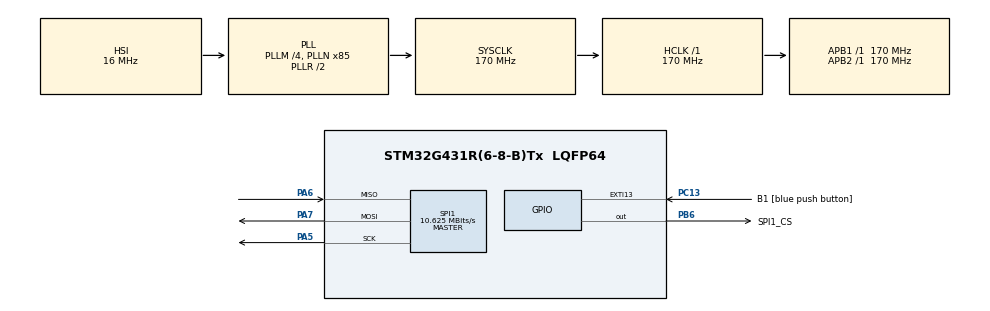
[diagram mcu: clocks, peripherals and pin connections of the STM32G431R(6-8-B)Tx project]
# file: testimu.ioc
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Mcu.Family=STM32G4
Mcu.Name=STM32G431R(6-8-B)Tx
Mcu.Package=LQFP64
NVIC.PriorityGroup=NVIC_PRIORITYGROUP_4
PA13.GPIO_Label=T_SWDIO
PA13.Signal=SYS_JTMS-SWDIO
PA14.GPIO_Label=T_SWCLK
PA14.Signal=SYS_JTCK-SWCLK
PA2.GPIO_Label=LPUART1_TX [STLINKV3E_VCP_RX]
PA2.Signal=LPUART1_TX
PA3.GPIO_Label=LPUART1_RX [STLINKV3E_VCP_TX]
PA3.Signal=LPUART1_RX
PA5.Mode=Full_Duplex_Master
PA5.Signal=SPI1_SCK
PA6.Mode=Full_Duplex_Master
PA6.Signal=SPI1_MISO
PA7.Mode=Full_Duplex_Master
PA7.Signal=SPI1_MOSI
PB3.GPIO_Label=T_SWO
PB3.Signal=SYS_JTDO-SWO
PB6.GPIO_Label=SPI1_CS
PB6.GPIO_Speed=GPIO_SPEED_FREQ_HIGH
PB6.PinState=GPIO_PIN_SET
PB6.Signal=GPIO_Output
PC13.GPIO_Label=B1 [blue push button]
PC13.Signal=GPXTI13
PC14-OSC32_IN.GPIO_Label=RCC_OSC32_OUT
PC14-OSC32_IN.Signal=RCC_OSC32_IN
PC15-OSC32_OUT.GPIO_Label=RCC_OSC32_OUT
PC15-OSC32_OUT.Signal=RCC_OSC32_OUT
PF0-OSC_IN.GPIO_Label=RCC_OSC_IN
PF0-OSC_IN.Signal=RCC_OSC_IN
PF1-OSC_OUT.GPIO_Label=RCC_OSC_OUT
PF1-OSC_OUT.Signal=RCC_OSC_OUT
ProjectManager.HeapSize=0x200
ProjectManager.StackSize=0x400
ProjectManager.TargetToolchain=STM32CubeIDE
RCC.ADC12Freq_Value=170000000
RCC.AHBFreq_Value=170000000
RCC.APB1Freq_Value=170000000
RCC.APB1TimFreq_Value=170000000
RCC.APB2Freq_Value=170000000
RCC.APB2TimFreq_Value=170000000
RCC.CortexFreq_Value=170000000
RCC.EXTERNAL_CLOCK_VALUE=12288000
RCC.HCLKFreq_Value=170000000
RCC.HSE_VALUE=24000000
RCC.HSI48_VALUE=48000000
RCC.HSI_VALUE=16000000
RCC.LSE_VALUE=32768
RCC.PLLM=RCC_PLLM_DIV4
RCC.PLLN=85
RCC.RTCClockSelection=RCC_RTCCLKSOURCE_LSE
RCC.SYSCLKFreq_VALUE=170000000
RCC.SYSCLKSource=RCC_SYSCLKSOURCE_PLLCLK
RCC.USBFreq_Value=170000000
RCC.VCOOutputFreq_Value=340000000
SPI1.BaudRatePrescaler=SPI_BAUDRATEPRESCALER_16
SPI1.CLKPhase=SPI_PHASE_2EDGE
SPI1.CLKPolarity=SPI_POLARITY_HIGH
SPI1.CalculateBaudRate=10.625 MBits/s
SPI1.DataSize=SPI_DATASIZE_8BIT
SPI1.Direction=SPI_DIRECTION_2LINES
SPI1.Mode=SPI_MODE_MASTER
SPI1.VirtualType=VM_MASTER
VP_SYS_VS_DBSignals.Mode=DisableDeadBatterySignals
board=NUCLEO-G431RB

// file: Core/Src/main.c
/* USER CODE BEGIN Header */
/**
  ******************************************************************************
  * @file           : main.c
  * @brief          : Main program body
  ******************************************************************************
  * @attention
  *
  * Copyright (c) 2025 STMicroelectronics.
  * All rights reserved.
  *
  * This software is licensed under terms that can be found in the LICENSE file
  * in the root directory of this software component.
  * If no LICENSE file comes with this software, it is provided AS-IS.
  *
  ******************************************************************************
  */
/* USER CODE END Header */
#include "main.h"
#include "spi.h"
#include "gpio.h"
#include "usart.h"

/* USER CODE BEGIN Includes */
#include "icm20948.h"
#include <string.h>
#include <stdbool.h>

/* USER CODE END Includes */

/* USER CODE BEGIN PD */
#define LED1_PIN GPIO_PIN_11
#define LED2_PIN GPIO_PIN_12
#define LED3_PIN GPIO_PIN_13
#define LED_PORT GPIOB

#define UART_RX_BUFFER_SIZE 32
/* USER CODE END PD */

/* USER CODE BEGIN PV */
axises my_gyro;
axises my_accel;
axises my_mag;

uint8_t uartRxBuffer[UART_RX_BUFFER_SIZE];
uint8_t uartRxData;
bool commandReceived = false;
/* USER CODE END PV */

void SystemClock_Config(void);
/* USER CODE BEGIN PFP */
void ProcessCommand(uint8_t* command);
void LED_Control(uint8_t led_num, bool state);
void LED_Init(void);

/* USER CODE END PFP */

int main(void)
{

  /* MCU Configuration--------------------------------------------------------*/

  /* Reset of all peripherals, Initializes the Flash interface and the Systick. */
  HAL_Init();

  /* Configure the system clock */
  SystemClock_Config();

  /* Initialize all configured peripherals */
  MX_GPIO_Init();
  MX_SPI1_Init();
    /* USER CODE BEGIN 2 */
  icm20948_init();
  ak09916_init();

  LED_Init();

  // Start UART reception in interrupt mode
  HAL_UART_Receive_IT(&huart1, &uartRxData, 1);

  // Send initial message
  char welcomeMsg[] = "STM32 LED Control Ready\r\n";
  HAL_UART_Transmit(&huart1, (uint8_t*)welcomeMsg, strlen(welcomeMsg), 100);

  /* USER CODE END 2 */

  /* Infinite loop */
  while (1)
  {

    /* USER CODE BEGIN 3 */
	  icm20948_gyro_read_dps(&my_gyro);
	  icm20948_accel_read_g(&my_accel);
	  ak09916_mag_read_uT(&my_mag);

    // Process command if received
    if (commandReceived) {
      ProcessCommand(uartRxBuffer);
      memset(uartRxBuffer, 0, UART_RX_BUFFER_SIZE);
      commandReceived = false;
    }
  }
  /* USER CODE END 3 */
}

void SystemClock_Config(void)
{
  RCC_OscInitTypeDef RCC_OscInitStruct = {0};
  RCC_ClkInitTypeDef RCC_ClkInitStruct = {0};

  /** Configure the main internal regulator output voltage
  */
  HAL_PWREx_ControlVoltageScaling(PWR_REGULATOR_VOLTAGE_SCALE1_BOOST);

  /** Initializes the RCC Oscillators according to the specified parameters
  * in the RCC_OscInitTypeDef structure.
  */
  RCC_OscInitStruct.OscillatorType = RCC_OSCILLATORTYPE_HSI;
  RCC_OscInitStruct.HSIState = RCC_HSI_ON;
  RCC_OscInitStruct.HSICalibrationValue = RCC_HSICALIBRATION_DEFAULT;
  RCC_OscInitStruct.PLL.PLLState = RCC_PLL_ON;
  RCC_OscInitStruct.PLL.PLLSource = RCC_PLLSOURCE_HSI;
  RCC_OscInitStruct.PLL.PLLM = RCC_PLLM_DIV4;
  RCC_OscInitStruct.PLL.PLLN = 85;
  RCC_OscInitStruct.PLL.PLLP = RCC_PLLP_DIV2;
  RCC_OscInitStruct.PLL.PLLQ = RCC_PLLQ_DIV2;
  RCC_OscInitStruct.PLL.PLLR = RCC_PLLR_DIV2;
  if (HAL_RCC_OscConfig(&RCC_OscInitStruct) != HAL_OK)
  {
    Error_Handler();
  }

  /** Initializes the CPU, AHB and APB buses clocks
  */
  RCC_ClkInitStruct.ClockType = RCC_CLOCKTYPE_HCLK|RCC_CLOCKTYPE_SYSCLK
                              |RCC_CLOCKTYPE_PCLK1|RCC_CLOCKTYPE_PCLK2;
  RCC_ClkInitStruct.SYSCLKSource = RCC_SYSCLKSOURCE_PLLCLK;
  RCC_ClkInitStruct.AHBCLKDivider = RCC_SYSCLK_DIV1;
  RCC_ClkInitStruct.APB1CLKDivider = RCC_HCLK_DIV1;
  RCC_ClkInitStruct.APB2CLKDivider = RCC_HCLK_DIV1;

  if (HAL_RCC_ClockConfig(&RCC_ClkInitStruct, FLASH_LATENCY_4) != HAL_OK)
  {
    Error_Handler();
  }
}

/* USER CODE BEGIN 4 */
/**
  * @brief  Initialize LEDs
  * @retval None
  */
void LED_Init(void) {
  GPIO_InitTypeDef GPIO_InitStruct = {0};

  // Enable the GPIO clock
  __HAL_RCC_GPIOB_CLK_ENABLE();

  // Configure the LED pins as outputs
  GPIO_InitStruct.Pin = LED1_PIN | LED2_PIN | LED3_PIN;
  GPIO_InitStruct.Mode = GPIO_MODE_OUTPUT_PP;
  GPIO_InitStruct.Pull = GPIO_NOPULL;
  GPIO_InitStruct.Speed = GPIO_SPEED_FREQ_LOW;
  HAL_GPIO_Init(LED_PORT, &GPIO_InitStruct);

  // Turn off all LEDs initially
  HAL_GPIO_WritePin(LED_PORT, LED1_PIN | LED2_PIN | LED3_PIN, GPIO_PIN_RESET);
}

/**
  * @brief  Control LED state
  * @param  led_num: LED number (1-3)
  * @param  state: LED state (true = ON, false = OFF)
  * @retval None
  */
void LED_Control(uint8_t led_num, bool state) {
  GPIO_PinState pinState = state ? GPIO_PIN_SET : GPIO_PIN_RESET;

  switch (led_num) {
    case 1:
      HAL_GPIO_WritePin(LED_PORT, LED1_PIN, pinState);
      break;
    case 2:
      HAL_GPIO_WritePin(LED_PORT, LED2_PIN, pinState);
      break;
    case 3:
      HAL_GPIO_WritePin(LED_PORT, LED3_PIN, pinState);
      break;
    default:
      break;
  }
}

/**
  * @brief  Process received command
  * @param  command: Command string to process
  * @retval None
  */
void ProcessCommand(uint8_t* command) {
  char response[32] = {0};

  // Format: "LEDx ON" or "LEDx OFF" where x is 1-3
  if (strncmp((char*)command, "LED", 3) == 0 && command[3] >= '1' && command[3] <= '3') {
    uint8_t led_num = command[3] - '0';

    if (strncmp((char*)command + 4, " ON", 3) == 0) {
      LED_Control(led_num, true);
      sprintf(response, "LED%d turned ON\r\n", led_num);
    }
    else if (strncmp((char*)command + 4, " OFF", 4) == 0) {
      LED_Control(led_num, false);
      sprintf(response, "LED%d turned OFF\r\n", led_num);
    }
    else {
      sprintf(response, "Invalid command format\r\n");
    }
  }
  else {
    sprintf(response, "Invalid command\r\n");
  }

  // Send response
  HAL_UART_Transmit(&huart1, (uint8_t*)response, strlen(response), 100);
}

/**
  * @brief  UART Reception Callback
  * @param  huart: UART handle
  * @retval None
  */
void HAL_UART_RxCpltCallback(UART_HandleTypeDef *huart) {
  static uint8_t rxIndex = 0;

  if (huart->Instance == USART1) {
    if (uartRxData == '\n' || uartRxData == '\r') {
      // End of command
      if (rxIndex > 0) {
        uartRxBuffer[rxIndex] = 0; // Null-terminate
        commandReceived = true;
        rxIndex = 0;
      }
    }
    else if (rxIndex < UART_RX_BUFFER_SIZE - 1) {
      uartRxBuffer[rxIndex++] = uartRxData;
    }

    // Restart reception
    HAL_UART_Receive_IT(&huart1, &uartRxData, 1);
  }
}

/* USER CODE END 4 */

void Error_Handler(void)
{
  __disable_irq();
  while (1)
  {
  }
}
